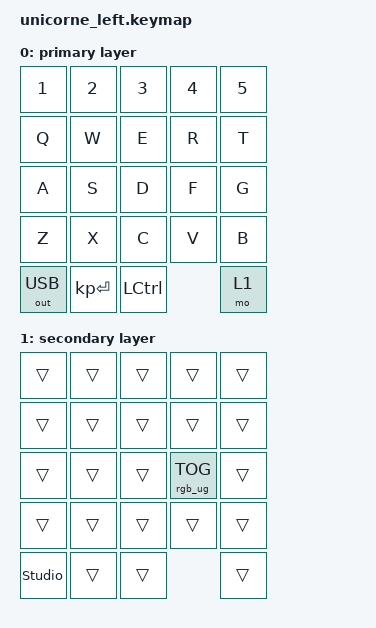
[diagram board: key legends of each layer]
#include <behaviors.dtsi>
#include <dt-bindings/zmk/keys.h>
#include <dt-bindings/zmk/rgb.h>
#include <dt-bindings/zmk/outputs.h>

/ {
    keymap {
        compatible = "zmk,keymap";
        label = "Default";
        physical-layout = <&physical_layout0>;

        default_layer {
            display-name = "primary layer";
            bindings = <&kp  N1         &kp N2       &kp N3     &kp N4   &kp N5
                        &kp  Q          &kp W        &kp E      &kp R    &kp T
                        &kp  A          &kp S        &kp D      &kp F    &kp G
                        &kp  Z          &kp X        &kp C      &kp V    &kp B
                        &out OUT_USB    &kp KP_ENTER &kp LCTRL  &mo 1
            >;
        };

        second_layer {
            display-name = "secondary layer";
            bindings = <&trans         &trans &trans &trans &trans
                        &trans         &trans &trans &trans &trans
                        &trans         &trans &trans &rgb_ug RGB_TOG &trans
                        &trans         &trans &trans &trans &trans
                        &studio_unlock &trans &trans &trans
            >;
        };
    };
};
